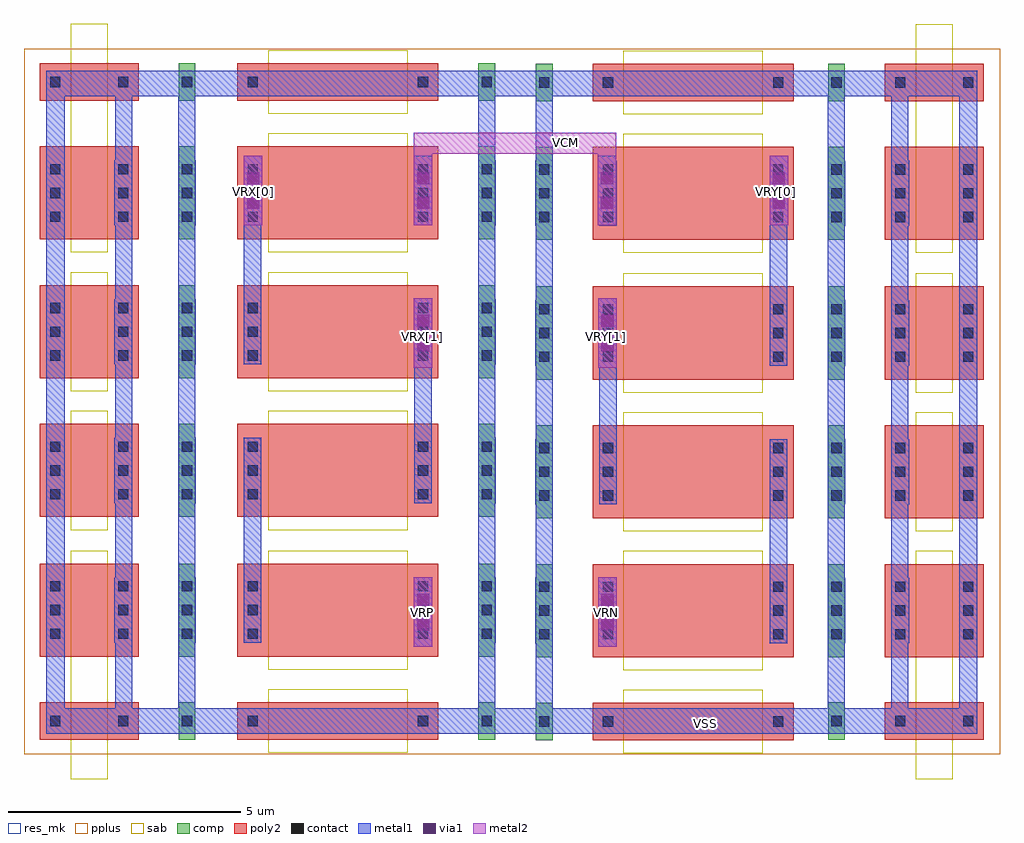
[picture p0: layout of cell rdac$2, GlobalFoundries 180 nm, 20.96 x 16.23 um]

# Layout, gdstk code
from math import pi, radians
import gdstk
lib = gdstk.Library(unit=1e-6, precision=5e-09)
def R(c, l, rs):  # rectangles x0, y0, x1, y1
    for r in rs: c.add(gdstk.rectangle(r[:2], r[2:], *l))
def A(c, l, x, y, w, h, nx, ny, dx, dy):  # array of equal rectangles
    R(c, l, [(x+i*dx, y+j*dy, x+i*dx+w, y+j*dy+h) for i in range(nx) for j in range(ny)])
comp = (22, 0)
poly2 = (30, 0)
pplus = (31, 0)
contact = (33, 0)
metal1 = (34, 0)
via1 = (35, 0)
metal2 = (36, 0)
sab = (49, 0)
res_mk = (110, 5)

ppolyf_u_resistor_4 = lib.new_cell('ppolyf_u_resistor$4')
R(ppolyf_u_resistor_4, comp, [(-1.88,0,-1.52,2)])
R(ppolyf_u_resistor_4, poly2, [(-0.66,0,3.66,2)])
R(ppolyf_u_resistor_4, pplus, [(-0.96,-0.3,3.96,2.3), (-2.04,-0.16,-1.36,2.16)])
A(ppolyf_u_resistor_4, contact, -1.81, 0.38, 0.22, 0.22, 1, 3, 0, 0.51)
A(ppolyf_u_resistor_4, contact, -0.44, 0.38, 0.22, 0.22, 1, 3, 0, 0.51)
A(ppolyf_u_resistor_4, contact, 3.22, 0.38, 0.22, 0.22, 1, 3, 0, 0.51)
R(ppolyf_u_resistor_4, metal1, [(-1.89,0.3,-1.51,1.7), (-0.52,0.3,-0.14,1.7), (3.14,0.3,3.52,1.7)])
R(ppolyf_u_resistor_4, sab, [(0,-0.28,3,2.28)])
R(ppolyf_u_resistor_4, res_mk, [(0,0,3,2)])

ppolyf_u_resistor_2_1 = lib.new_cell('ppolyf_u_resistor$2$1')
R(ppolyf_u_resistor_2_1, comp, [(-1.88,0,-1.52,2)])
R(ppolyf_u_resistor_2_1, poly2, [(-0.66,0,1.46,2)])
R(ppolyf_u_resistor_2_1, pplus, [(-0.96,-0.3,1.76,2.3), (-2.04,-0.16,-1.36,2.16)])
A(ppolyf_u_resistor_2_1, contact, -1.81, 0.38, 0.22, 0.22, 1, 3, 0, 0.51)
A(ppolyf_u_resistor_2_1, contact, -0.44, 0.38, 0.22, 0.22, 1, 3, 0, 0.51)
A(ppolyf_u_resistor_2_1, contact, 1.02, 0.38, 0.22, 0.22, 1, 3, 0, 0.51)
R(ppolyf_u_resistor_2_1, metal1, [(-1.89,0.3,-1.51,1.7), (-0.52,0.3,-0.14,1.7), (0.94,0.3,1.32,1.7)])
R(ppolyf_u_resistor_2_1, sab, [(0,-0.28,0.8,2.28)])
R(ppolyf_u_resistor_2_1, res_mk, [(0,0,0.8,2)])

ppolyf_u_resistor_3_1 = lib.new_cell('ppolyf_u_resistor$3$1')
R(ppolyf_u_resistor_3_1, comp, [(-1.88,0,-1.52,0.8)])
R(ppolyf_u_resistor_3_1, poly2, [(-0.66,0,3.66,0.8)])
R(ppolyf_u_resistor_3_1, pplus, [(-0.96,-0.3,3.96,1.1), (-2.04,-0.16,-1.36,0.96)])
R(ppolyf_u_resistor_3_1, contact, [(-1.81,0.29,-1.59,0.51), (-0.44,0.29,-0.22,0.51), (3.22,0.29,3.44,0.51)])
R(ppolyf_u_resistor_3_1, metal1, [(-1.89,0.21,-1.51,0.59), (-0.52,0.21,-0.14,0.59), (3.14,0.21,3.52,0.59)])
R(ppolyf_u_resistor_3_1, sab, [(0,-0.28,3,1.08)])
R(ppolyf_u_resistor_3_1, res_mk, [(0,0,3,0.8)])

via_dev_1_2 = lib.new_cell('via_dev$1$2')
R(via_dev_1_2, metal1, [(0,0,0.4,1.5)])
R(via_dev_1_2, via1, [(0.07,0.355,0.33,0.615), (0.07,0.885,0.33,1.145)])
R(via_dev_1_2, metal2, [(0,0,0.4,1.5)])

ppolyf_u_resistor_5_1 = lib.new_cell('ppolyf_u_resistor$5$1')
R(ppolyf_u_resistor_5_1, comp, [(-1.88,0,-1.52,0.8)])
R(ppolyf_u_resistor_5_1, poly2, [(-0.66,0,1.46,0.8)])
R(ppolyf_u_resistor_5_1, pplus, [(-0.96,-0.3,1.76,1.1), (-2.04,-0.16,-1.36,0.96)])
R(ppolyf_u_resistor_5_1, contact, [(-1.81,0.29,-1.59,0.51), (-0.44,0.29,-0.22,0.51), (1.02,0.29,1.24,0.51)])
R(ppolyf_u_resistor_5_1, metal1, [(-1.89,0.21,-1.51,0.59), (-0.52,0.21,-0.14,0.59), (0.94,0.21,1.32,0.59)])
R(ppolyf_u_resistor_5_1, sab, [(0,-0.855,0.8,1.655)])
R(ppolyf_u_resistor_5_1, res_mk, [(0,0,0.8,0.8)])

rdac_2 = lib.new_cell('rdac$2')
R(rdac_2, pplus, [(-10.57,-7.705,10.39,7.455)])
R(rdac_2, metal1, [(-10.09,-7.255,-9.7,6.975), (-10.09,-7.255,9.9,-6.715), (-8.61,-7.255,-8.24,6.975), (-7.26,-7.255,-6.89,6.975), (-0.82,-7.255,-0.45,6.975), (0.42,-7.255,0.79,6.975), (6.69,-7.255,7.06,6.975), (8.05,-7.255,8.42,6.975), (9.52,-7.255,9.9,6.975), (-2.23,-7.185,-0.45,-6.795), (5.44,-7.185,7.06,-6.795), (-7.26,-7.175,-5.51,-6.795), (0.41,-7.175,2.16,-6.795), (-5.85,-5.305,-5.47,-0.905), (5.44,-5.305,5.82,-0.935), (1.78,-2.335,2.16,2.045), (-2.19,-2.305,-1.81,2.075), (5.44,0.645,5.82,5.045), (-5.85,0.675,-5.47,5.045), (-10.09,6.435,9.9,6.975), (5.44,6.495,7.06,6.905), (-7.26,6.525,-5.51,6.905), (-2.23,6.525,-0.45,6.905), (0.41,6.525,2.16,6.905)])
R(rdac_2, metal2, [(-2.2,3.655,-1.8,5.645), (1.75,3.655,2.15,5.645), (-2.2,5.195,2.15,5.645)])
rdac_2.add(gdstk.Reference(ppolyf_u_resistor_4, (2.3,-5.615)))
rdac_2.add(gdstk.Reference(ppolyf_u_resistor_4, (2.3,-2.635)))
rdac_2.add(gdstk.Reference(ppolyf_u_resistor_4, (2.3,0.345)))
rdac_2.add(gdstk.Reference(ppolyf_u_resistor_4, (2.3,3.345)))
rdac_2.add(gdstk.Reference(ppolyf_u_resistor_4, (-2.33,5.355), rotation=pi))
rdac_2.add(gdstk.Reference(ppolyf_u_resistor_4, (-2.33,2.375), rotation=pi))
rdac_2.add(gdstk.Reference(ppolyf_u_resistor_4, (-2.33,-0.605), rotation=pi))
rdac_2.add(gdstk.Reference(ppolyf_u_resistor_4, (-2.33,-3.605), rotation=pi))
rdac_2.add(gdstk.Reference(ppolyf_u_resistor_2_1, (8.58,3.345)))
rdac_2.add(gdstk.Reference(ppolyf_u_resistor_2_1, (8.58,0.345)))
rdac_2.add(gdstk.Reference(ppolyf_u_resistor_2_1, (8.58,-2.635)))
rdac_2.add(gdstk.Reference(ppolyf_u_resistor_2_1, (8.58,-5.615)))
rdac_2.add(gdstk.Reference(ppolyf_u_resistor_2_1, (8.58,-2.635)))
rdac_2.add(gdstk.Reference(ppolyf_u_resistor_2_1, (8.58,0.345)))
rdac_2.add(gdstk.Reference(ppolyf_u_resistor_2_1, (8.58,3.345)))
rdac_2.add(gdstk.Reference(ppolyf_u_resistor_2_1, (-8.77,-3.605), rotation=pi))
rdac_2.add(gdstk.Reference(ppolyf_u_resistor_2_1, (-8.77,-0.605), rotation=pi))
rdac_2.add(gdstk.Reference(ppolyf_u_resistor_2_1, (-8.77,2.375), rotation=pi))
rdac_2.add(gdstk.Reference(ppolyf_u_resistor_2_1, (-8.77,5.355), rotation=pi))
rdac_2.add(gdstk.Reference(ppolyf_u_resistor_2_1, (-8.77,2.375), rotation=pi))
rdac_2.add(gdstk.Reference(ppolyf_u_resistor_2_1, (-8.77,-0.605), rotation=pi))
rdac_2.add(gdstk.Reference(ppolyf_u_resistor_2_1, (-8.77,-3.605), rotation=pi))
rdac_2.add(gdstk.Reference(ppolyf_u_resistor_3_1, (2.3,6.325)))
rdac_2.add(gdstk.Reference(ppolyf_u_resistor_3_1, (-2.33,6.335), rotation=pi, x_reflection=True))
rdac_2.add(gdstk.Reference(ppolyf_u_resistor_3_1, (2.3,-7.395)))
rdac_2.add(gdstk.Reference(ppolyf_u_resistor_3_1, (-2.33,-7.385), rotation=pi, x_reflection=True))
rdac_2.add(gdstk.Reference(via_dev_1_2, (-2.2,3.655)))
rdac_2.add(gdstk.Reference(via_dev_1_2, (1.75,3.655)))
rdac_2.add(gdstk.Reference(via_dev_1_2, (1.76,-5.395)))
rdac_2.add(gdstk.Reference(via_dev_1_2, (-2.2,-5.395)))
rdac_2.add(gdstk.Reference(via_dev_1_2, (-2.2,0.595)))
rdac_2.add(gdstk.Reference(via_dev_1_2, (1.76,0.595)))
rdac_2.add(gdstk.Reference(via_dev_1_2, (-5.85,3.655)))
rdac_2.add(gdstk.Reference(via_dev_1_2, (5.44,3.655)))
rdac_2.add(gdstk.Reference(ppolyf_u_resistor_5_1, (-8.77,7.135), rotation=pi))
rdac_2.add(gdstk.Reference(ppolyf_u_resistor_5_1, (8.58,6.325)))
rdac_2.add(gdstk.Reference(ppolyf_u_resistor_5_1, (-8.77,-6.585), rotation=pi))
rdac_2.add(gdstk.Reference(ppolyf_u_resistor_5_1, (8.58,-7.385)))
rdac_2.add(gdstk.Label('VSS', (4.07,-7.035), layer=34, texttype=10))
rdac_2.add(gdstk.Label('VCM', (1.06,5.435), layer=36, texttype=10))
rdac_2.add(gdstk.Label('VRX[0]', (-5.645,4.39), layer=36, texttype=10))
rdac_2.add(gdstk.Label('VRX[1]', (-2.01,1.265), layer=36, texttype=10))
rdac_2.add(gdstk.Label('VRY[0]', (5.58,4.395), layer=36, texttype=10))
rdac_2.add(gdstk.Label('VRY[1]', (1.945,1.27), layer=36, texttype=10))
rdac_2.add(gdstk.Label('VRP', (-2.01,-4.655), layer=36, texttype=10))
rdac_2.add(gdstk.Label('VRN', (1.945,-4.65), layer=36, texttype=10))

lib.write_gds('rdac_2.gds')
